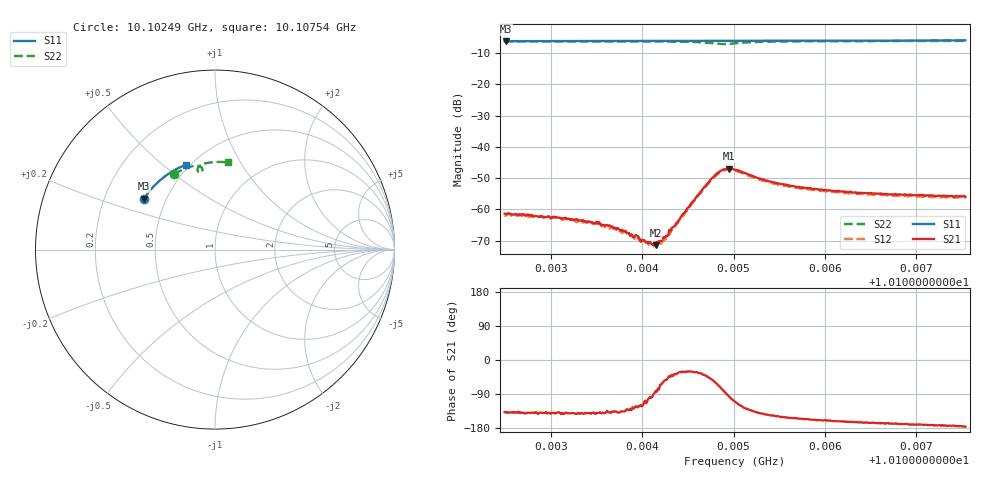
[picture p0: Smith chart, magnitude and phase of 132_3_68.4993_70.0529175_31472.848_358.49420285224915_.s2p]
#  HZ  S  RI  R  50.00
! Rohde & Schwarz Vector Network Analyzer
! Rohde-Schwarz,ZNB20-2Port,1311601062101988,3.16
! Created: UTC 3/20/2024, 5:09:40 PM
! freq[Hz]  re:S11  im:S11  re:S21  im:S21  re:S12  im:S12  re:S22  im:S22
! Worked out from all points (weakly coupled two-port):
!   401 points, 10.10249 GHz to 10.10754 GHz, reference 50 ohm
!   highest |S21| = -46.94 dB at 10.10495 GHz (marker M1); lowest = -71.4 dB at 10.10414 GHz (marker M2)
!   lowest |S11| = -6.3 dB at 10.1025 GHz (marker M3), VSWR 2.89, Z = 18.8 + j14 ohm
!   |S11| at or under -10 dB: nowhere
!   |S22| runs from -7.2 to -6.2 dB; largest |S21 - S12| = 0.00047
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1.0102492e10  -0.3953 0.2833  -0.000633 -0.000578  -0.00055 -0.000596  -0.229 0.4204
1.0102504e10  -0.3949 0.2838  -0.000622 -0.00058  -0.000554 -0.000567  -0.2283 0.4209
1.0103034e10  -0.3765 0.3105  -0.000581 -0.000498  -0.000527 -0.000528  -0.1976 0.4375
1.0103337e10  -0.3652 0.3251  -0.000505 -0.000428  -0.000461 -0.000457  -0.1793 0.4461
1.0103476e10  -0.36 0.3315  -0.000471 -0.000384  -0.00041 -0.000414  -0.1706 0.4499
1.0103653e10  -0.353 0.3397  -0.000417 -0.000352  -0.000342 -0.000387  -0.1592 0.4543
1.0103829e10  -0.3457 0.3478  -0.000265 -0.000319  -0.000266 -0.000337  -0.1475 0.4584
1.0104031e10  -0.3374 0.3566  -9.09e-05 -0.000297  -9.62e-05 -0.000269  -0.1333 0.4626
1.010412e10  -0.3336 0.3604  -6.73e-06 -0.000272  1e-05 -0.000278  -0.1266 0.4643
1.0104145e10  -0.3326 0.3615  3.66e-05 -0.000266  5.24e-05 -0.000291  -0.1246 0.4646
1.0104183e10  -0.3308 0.3632  6.57e-05 -0.000304  0.00011 -0.000274  -0.1217 0.4652
1.010422e10  -0.3293 0.3648  0.000167 -0.000294  0.000157 -0.000265  -0.1188 0.4658
1.0104271e10  -0.327 0.3669  0.000234 -0.000289  0.000245 -0.000235  -0.1146 0.4663
1.0104561e10  -0.3141 0.379  0.00116 -0.000724  0.0012 -0.000587  -0.0872 0.4644
1.0104763e10  -0.3049 0.3871  0.00195 -0.00247  0.00204 -0.00219  -0.0698 0.4463
1.0104864e10  -0.3003 0.3908  0.0011 -0.00403  0.00142 -0.00373  -0.0759 0.4319
1.0104952e10  -0.2962 0.3941  -0.000502 -0.00447  -0.000104 -0.00432  -0.0899 0.4314
1.0105015e10  -0.2934 0.3965  -0.00148 -0.00406  -0.00111 -0.00401  -0.0962 0.4386
1.0105432e10  -0.2735 0.412  -0.00226 -0.00151  -0.00205 -0.00162  -0.0734 0.4737
1.0105861e10  -0.252 0.4267  -0.00197 -0.000809  -0.00182 -0.000954  -0.0414 0.4831
1.0106706e10  -0.2076 0.4521  -0.00169 -0.00036  -0.0016 -0.000521  0.0161 0.4885
1.0107539e10  -0.1613 0.4725  -0.00158 -0.000112  -0.0015 -0.000275  0.0704 0.4859
